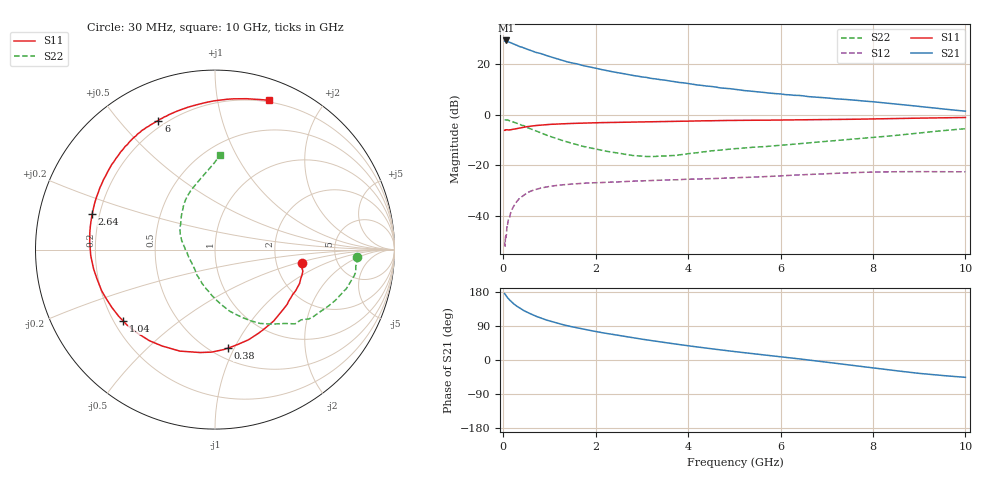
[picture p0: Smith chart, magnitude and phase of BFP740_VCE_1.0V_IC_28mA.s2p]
! Infineon Technologies  Discrete & RF Semiconductors
! BFP740
! VCE =  1.0 V,  IC =  28 mA
! Common Emitter S-Parameters:  Jan 2016
# GHz  S  MA  R  50
!  f  S11  S21  S12  S22
! GHz  MAG  ANG  MAG  ANG  MAG  ANG  MAG  ANG
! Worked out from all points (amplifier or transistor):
!   229 points, 30 MHz to 10 GHz, reference 50 ohm
!   highest |S21| = 29.4 dB at 60 MHz (marker M1)
!   |S21| within 3 dB of that: start of sweep to 450.5 MHz
!   unconditionally stable (mu >= 1): start of sweep to 75.04 MHz; 3.423 GHz to end of sweep
!   at 280 MHz: K = 0.47, MSG = 31.2 dB, |S12| = -34.7 dB
!   at 1.78 GHz: K = 0.66, MSG = 23.2 dB, |S12| = -27.1 dB
!   at 10 GHz: K = 1.29, MAG = 8.8 dB, |S12| = -22.6 dB
!   S11 on the Smith chart (normalised r, x): 30 MHz: 2.82, -0.54; 380 MHz: 0.60, -0.95; 1.04 GHz: 0.24, -0.33; 2.64 GHz: 0.17, +0.14; 6 GHz: 0.17, +0.64; 10 GHz: 0.18, +1.41
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0.03  0.4922 -8.4  28.82 175.4  0.003 51.3  0.7935 -2.9
0.06  0.505 -16.3  29.67 170.3  0.0037 68.8  0.7895 -6.7
0.08  0.5077 -21.8  29.4 166.4  0.0061 75.9  0.7928 -9.4
0.11  0.4999 -30.0  28.03 161.8  0.0083 73.1  0.7762 -13.4
0.2  0.515 -50.6  25.81 150.8  0.0139 65.8  0.7286 -22.7
0.3  0.536 -69.6  23.71 141.5  0.0195 59.8  0.6759 -31.4
0.38  0.5529 -82.3  22.14 135.5  0.0231 55.8  0.634 -37.8
0.46  0.5723 -93.1  20.84 129.5  0.0262 52.4  0.5996 -43.6
0.6  0.5985 -109.1  18.8 121.2  0.0309 45.0  0.5228 -52.6
0.7  0.6127 -118.8  17.3 115.9  0.0332 41.5  0.4834 -58.4
0.8  0.6254 -125.7  16.52 111.3  0.0351 38.5  0.4435 -63.4
1.04  0.6481 -142.1  13.92 101.6  0.0386 32.4  0.3668 -74.1
1.34  0.6667 -157.2  11.54 91.8  0.0414 27.1  0.2985 -85.2
1.7  0.6848 -170.9  9.558 82.2  0.0438 22.9  0.2403 -97.2
2.14  0.6997 176.0  7.832 72.1  0.0456 19.4  0.1977 -112.4
2.64  0.7125 163.7  6.431 62.0  0.0477 16.8  0.1649 -130.1
3.4  0.7335 147.8  4.963 47.8  0.0506 13.7  0.1526 -162.1
5.1  0.7759 122.5  3.122 20.9  0.057 8.2  0.2155 154.0
6  0.7853 113.7  2.591 8.5  0.0617 5.7  0.2494 139.7
6.8  0.7998 105.4  2.227 -2.9  0.0669 1.5  0.2879 128.6
8.4  0.8406 85.3  1.671 -26.8  0.0744 -10.0  0.3829 105.5
10  0.8844 70.2  1.18 -45.7  0.0742 -19.4  0.5299 86.9
